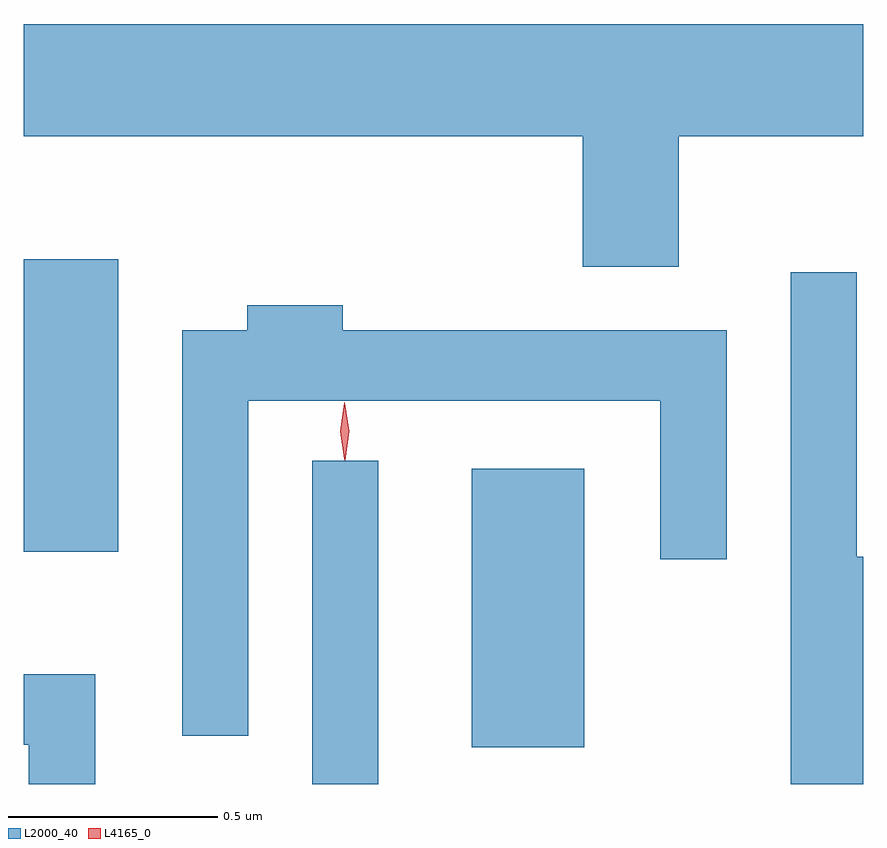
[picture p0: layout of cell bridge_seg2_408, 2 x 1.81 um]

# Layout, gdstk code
import gdstk
lib = gdstk.Library(unit=1e-6, precision=1e-09)
def R(c, l, rs):  # rectangles x0, y0, x1, y1
    for r in rs: c.add(gdstk.rectangle(r[:2], r[2:], *l))
def P(c, l, *ps):  # polygons
    for p in ps: c.add(gdstk.Polygon(p, *l))
L2000_40 = (2000, 40)
L4165_0 = (4165, 0)

bridge_seg2_408 = lib.new_cell('bridge_seg2_408')
R(bridge_seg2_408, L2000_40, [(631.496,1026.793,631.654,1027.563), (631.876,1026.881,632.144,1027.544), (630.809,1027.346,631.034,1028.044)])
P(bridge_seg2_408, L2000_40, [(632.369,1028.336),(632.809,1028.336),(632.809,1028.604),(630.809,1028.604),(630.809,1028.336),(632.141,1028.336),(632.141,1028.026),(632.369,1028.026)],
  [(632.809,1027.334),(632.794,1027.334),(632.794,1028.013),(632.636,1028.013),(632.636,1026.793),(632.809,1026.793)],
  [(631.344,1027.706),(632.326,1027.706),(632.326,1027.328),(632.484,1027.328),(632.484,1027.874),(631.569,1027.874),(631.569,1027.934),(631.341,1027.934),(631.341,1027.874),(631.186,1027.874),(631.186,1026.908),(631.344,1026.908)],
  [(630.979,1027.054),(630.809,1027.054),(630.809,1026.886),(630.821,1026.886),(630.821,1026.793),(630.979,1026.793)])
P(bridge_seg2_408, L4165_0, [(631.574,1027.564),(631.574,1027.564),(631.564,1027.633),(631.573,1027.702),(631.574,1027.703),(631.574,1027.702),(631.584,1027.633),(631.575,1027.564)],
  [(631.573,1027.567),(631.573,1027.568),(631.563,1027.634),(631.573,1027.7),(631.573,1027.701),(631.574,1027.7),(631.583,1027.634),(631.574,1027.568)])

lib.write_gds('bridge_seg2_408.gds')
